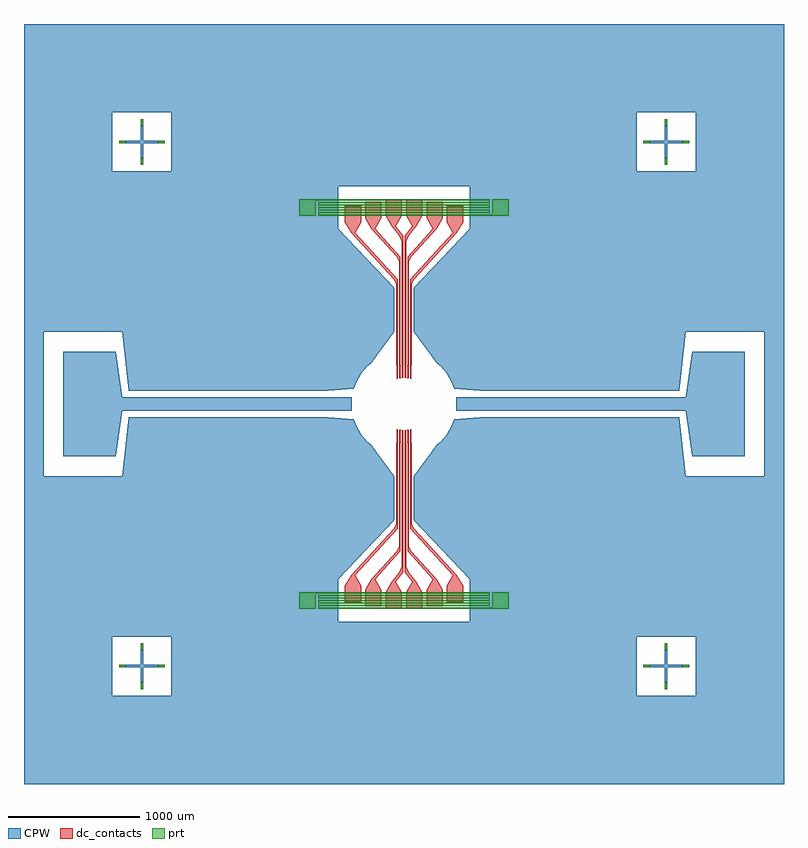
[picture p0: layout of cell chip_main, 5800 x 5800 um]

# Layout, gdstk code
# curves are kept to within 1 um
import gdstk
lib = gdstk.Library(unit=1e-6, precision=1e-08)
def R(c, l, rs):  # rectangles x0, y0, x1, y1
    for r in rs: c.add(gdstk.rectangle(r[:2], r[2:], *l))
def P(c, l, *ps):  # polygons
    for p in ps: c.add(gdstk.Polygon(p, *l))
CPW = (1, 0)
dc_contacts = (3, 0)
prt = (4, 0)

chip_main = lib.new_cell('chip_main')
R(chip_main, CPW, [(990,875,1010,1125), (4990,875,5010,1125), (875,990,1125,1010), (4875,990,5125,1010), (400,2600,800,3400), (5200,2600,5600,3400), (850,2950,2600,3050), (3400,2950,5150,3050), (990,4875,1010,5125), (4990,4875,5010,5125), (875,4990,1125,5010), (4875,4990,5125,5010)])
P(chip_main, CPW, [(800,2600),(800,3400),(850,3050),(850,2950)],
  [(5200,2600),(5150,2950),(5150,3050),(5200,3400)],
  [(2925,2607.09),(2924.76,2607.2),(2925,2607.16)],
  [(3075,2607.09),(3075,2607.16),(3075.24,2607.2)],
  [(2924.76,3392.8),(2925,3392.91),(2925,3392.84)],
  [(3075.24,3392.8),(3075,3392.84),(3075,3392.91)],
  [(100,100),(100,1225),(775,1225),(775,775),(1225,775),(1225,1225),(4775,1225),(4775,775),(5225,775),(5225,1225),(100,1225),(100,4662.5),(2499.27,4662.5),(2499.27,4336.39),(2925,3886.39),(2925,3550),(2745.86,3308.87),(2703.62,3268.62),(2678.72,3238.28),(2647.23,3188.56),(2630.45,3153.07),(2617.65,3117.41),(2417.65,3100),(900,3100),(850,3550),(250,3550),(250,2450),(850,2450),(900,2900),(2417.65,2900),(2617.65,2882.59),(2630.45,2846.93),(2647.23,2811.44),(2678.72,2761.72),(2703.62,2731.38),(2745.86,2691.13),(2925,2450),(2925,2113.61),(2499.27,1663.61),(2499.27,1337.5),(3500.73,1337.5),(3500.73,1663.61),(3075,2113.61),(3075,2450),(3254.14,2691.13),(3296.38,2731.38),(3321.28,2761.72),(3352.77,2811.44),(3369.55,2846.93),(3382.35,2882.59),(3582.35,2900),(5100,2900),(5150,2450),(5750,2450),(5750,3550),(5150,3550),(5100,3100),(3582.35,3100),(3382.35,3117.41),(3369.55,3153.07),(3352.77,3188.56),(3321.28,3238.28),(3296.38,3268.62),(3254.14,3308.87),(3075,3550),(3075,3886.39),(3500.73,4336.39),(3500.73,4662.5),(100,4662.5),(100,5225),(775,5225),(775,4775),(1225,4775),(1225,5225),(4775,5225),(4775,4775),(5225,4775),(5225,5225),(100,5225),(100,5900),(5900,5900),(5900,100)])
R(chip_main, dc_contacts, [(990,825,1010,875), (4990,825,5010,875), (825,990,875,1010), (1125,990,1175,1010), (4825,990,4875,1010), (5125,990,5175,1010), (990,1125,1010,1175), (4990,1125,5010,1175), (2859,1439.56,2984,1564.56), (3016,1439.56,3141,1564.56), (2702.85,1455.97,2827.85,1580.97), (3172.15,1455.97,3297.15,1580.97), (2549.27,1488.61,2674.27,1613.61), (3325.73,1488.61,3450.73,1613.61), (2984.29,1756.21,2994.29,2600), (3005.71,1756.21,3015.71,2600), (2962.86,1915.02,2972.86,2600), (3027.14,1915.02,3037.14,2600), (2941.43,2087.35,2951.43,2600), (3048.57,2087.35,3058.57,2600), (2941.43,3400,2951.43,3912.65), (2962.86,3400,2972.86,4084.98), (2984.29,3400,2994.29,4243.79), (3005.71,3400,3015.71,4243.79), (3027.14,3400,3037.14,4084.98), (3048.57,3400,3058.57,3912.65), (2549.27,4386.39,2674.27,4511.39), (3325.73,4386.39,3450.73,4511.39), (2702.85,4419.03,2827.85,4544.03), (3172.15,4419.03,3297.15,4544.03), (2859,4435.44,2984,4560.44), (3016,4435.44,3141,4560.44), (990,4825,1010,4875), (4990,4825,5010,4875), (825,4990,875,5010), (1125,4990,1175,5010), (4825,4990,4875,5010), (5125,4990,5175,5010), (990,5125,1010,5175), (4990,5125,5010,5175)])
P(chip_main, dc_contacts, [(3373.23,4306.39),(3325.73,4386.39),(3450.73,4386.39),(3403.23,4306.39)],
  [(3048.57,3952.65),(3373.23,4306.39),(3403.23,4306.39),(3078.57,3952.65)],
  [(3048.57,3912.65),(3048.57,3952.65),(3078.57,3952.65),(3058.57,3912.65)],
  [(3046.76,3193.19),(3048.57,3400),(3058.57,3400),(3056.76,3193.19)],
  [(3219.65,4339.03),(3172.15,4419.03),(3297.15,4419.03),(3249.65,4339.03)],
  [(3027.14,4124.98),(3219.65,4339.03),(3249.65,4339.03),(3057.14,4124.98)],
  [(3027.14,4084.98),(3027.14,4124.98),(3057.14,4124.98),(3037.14,4084.98)],
  [(3026.29,3197.54),(3027.14,3400),(3037.14,3400),(3036.29,3197.54)],
  [(3063.5,4355.44),(3016,4435.44),(3141,4435.44),(3093.5,4355.44)],
  [(3005.71,4283.79),(3063.5,4355.44),(3093.5,4355.44),(3035.71,4283.79)],
  [(3005.71,4243.79),(3005.71,4283.79),(3035.71,4283.79),(3015.71,4243.79)],
  [(3005.47,3199.73),(3005.71,3400),(3015.71,3400),(3015.47,3199.73)],
  [(2906.5,4355.44),(2859,4435.44),(2984,4435.44),(2936.5,4355.44)],
  [(2964.29,4283.79),(2906.5,4355.44),(2936.5,4355.44),(2994.29,4283.79)],
  [(2984.29,4243.79),(2964.29,4283.79),(2994.29,4283.79),(2994.29,4243.79)],
  [(2984.53,3199.73),(2984.29,3400),(2994.29,3400),(2994.53,3199.73)],
  [(2750.35,4339.03),(2702.85,4419.03),(2827.85,4419.03),(2780.35,4339.03)],
  [(2942.86,4124.98),(2750.35,4339.03),(2780.35,4339.03),(2972.86,4124.98)],
  [(2962.86,4084.98),(2942.86,4124.98),(2972.86,4124.98),(2972.86,4084.98)],
  [(2963.71,3197.54),(2962.86,3400),(2972.86,3400),(2973.71,3197.54)],
  [(2596.77,4306.39),(2549.27,4386.39),(2674.27,4386.39),(2626.77,4306.39)],
  [(2921.43,3952.65),(2596.77,4306.39),(2626.77,4306.39),(2951.43,3952.65)],
  [(2941.43,3912.65),(2921.43,3952.65),(2951.43,3952.65),(2951.43,3912.65)],
  [(2943.24,3193.19),(2941.43,3400),(2951.43,3400),(2953.24,3193.19)],
  [(2549.27,1613.61),(2596.77,1693.61),(2626.77,1693.61),(2674.27,1613.61)],
  [(2596.77,1693.61),(2921.43,2047.35),(2951.43,2047.35),(2626.77,1693.61)],
  [(2921.43,2047.35),(2941.43,2087.35),(2951.43,2087.35),(2951.43,2047.35)],
  [(2941.43,2600),(2943.24,2806.81),(2953.24,2806.81),(2951.43,2600)],
  [(2702.85,1580.97),(2750.35,1660.97),(2780.35,1660.97),(2827.85,1580.97)],
  [(2750.35,1660.97),(2942.86,1875.02),(2972.86,1875.02),(2780.35,1660.97)],
  [(2942.86,1875.02),(2962.86,1915.02),(2972.86,1915.02),(2972.86,1875.02)],
  [(2962.86,2600),(2963.71,2802.46),(2973.71,2802.46),(2972.86,2600)],
  [(2859,1564.56),(2906.5,1644.56),(2936.5,1644.56),(2984,1564.56)],
  [(2906.5,1644.56),(2964.29,1716.21),(2994.29,1716.21),(2936.5,1644.56)],
  [(2964.29,1716.21),(2984.29,1756.21),(2994.29,1756.21),(2994.29,1716.21)],
  [(2984.29,2600),(2984.53,2800.27),(2994.53,2800.27),(2994.29,2600)],
  [(3016,1564.56),(3063.5,1644.56),(3093.5,1644.56),(3141,1564.56)],
  [(3063.5,1644.56),(3005.71,1716.21),(3035.71,1716.21),(3093.5,1644.56)],
  [(3005.71,1716.21),(3005.71,1756.21),(3015.71,1756.21),(3035.71,1716.21)],
  [(3005.71,2600),(3005.47,2800.27),(3015.47,2800.27),(3015.71,2600)],
  [(3172.15,1580.97),(3219.65,1660.97),(3249.65,1660.97),(3297.15,1580.97)],
  [(3219.65,1660.97),(3027.14,1875.02),(3057.14,1875.02),(3249.65,1660.97)],
  [(3027.14,1875.02),(3027.14,1915.02),(3037.14,1915.02),(3057.14,1875.02)],
  [(3027.14,2600),(3026.29,2802.46),(3036.29,2802.46),(3037.14,2600)],
  [(3325.73,1613.61),(3373.23,1693.61),(3403.23,1693.61),(3450.73,1613.61)],
  [(3373.23,1693.61),(3048.57,2047.35),(3078.57,2047.35),(3403.23,1693.61)],
  [(3048.57,2047.35),(3048.57,2087.35),(3058.57,2087.35),(3078.57,2047.35)],
  [(3048.57,2600),(3046.76,2806.81),(3056.76,2806.81),(3058.57,2600)])
R(chip_main, prt, [(990,825,1010,875), (4990,825,5010,875), (825,990,875,1010), (1125,990,1175,1010), (4825,990,4875,1010), (5125,990,5175,1010), (990,1125,1010,1175), (4990,1125,5010,1175), (2200,1437.5,2325,1562.5), (3675,1437.5,3800,1562.5), (2200,4437.5,2325,4562.5), (3675,4437.5,3800,4562.5), (990,4825,1010,4875), (4990,4825,5010,4875), (825,4990,875,5010), (1125,4990,1175,5010), (4825,4990,4875,5010), (5125,4990,5175,5010), (990,5125,1010,5175), (4990,5125,5010,5175)])
P(chip_main, prt, [(2345,4437.5),(2345,4466.67),(3645,4466.67),(3645,4475.83),(2345,4475.83),(2345,4505),(3645,4505),(3645,4514.17),(2345,4514.17),(2345,4543.33),(3645,4543.33),(3645,4552.5),(2315,4552.5),(2315,4562.5),(3655,4562.5),(3655,4533.33),(2355,4533.33),(2355,4524.17),(3655,4524.17),(3655,4495),(2355,4495),(2355,4485.83),(3655,4485.83),(3655,4456.67),(2355,4456.67),(2355,4447.5),(3685,4447.5),(3685,4437.5)],
  [(2345,1437.5),(2345,1466.67),(3645,1466.67),(3645,1475.83),(2345,1475.83),(2345,1505),(3645,1505),(3645,1514.17),(2345,1514.17),(2345,1543.33),(3645,1543.33),(3645,1552.5),(2315,1552.5),(2315,1562.5),(3655,1562.5),(3655,1533.33),(2355,1533.33),(2355,1524.17),(3655,1524.17),(3655,1495),(2355,1495),(2355,1485.83),(3655,1485.83),(3655,1456.67),(2355,1456.67),(2355,1447.5),(3685,1447.5),(3685,1437.5)])

lib.write_gds('chip_main.gds')
